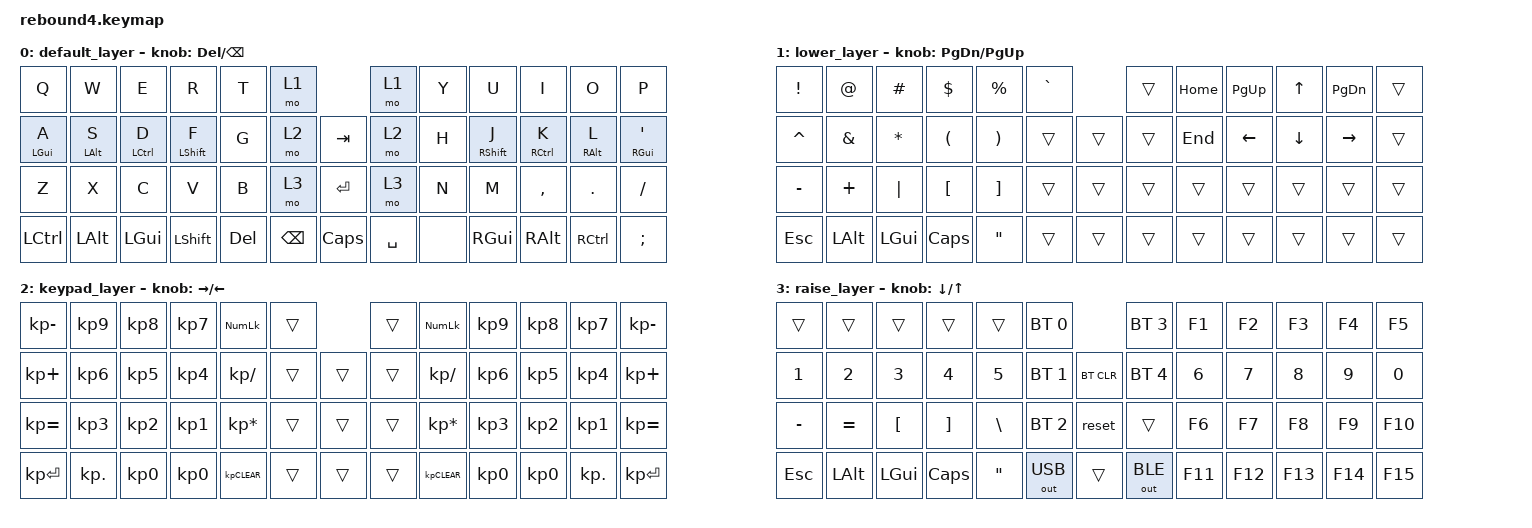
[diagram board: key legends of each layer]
/*
 * Copyright (c) 2020 The ZMK Contributors
 *
 * SPDX-License-Identifier: MIT
 */

#include <behaviors.dtsi>
#include <dt-bindings/zmk/keys.h>
#include <dt-bindings/zmk/bt.h>
#include <dt-bindings/zmk/modifiers.h>
#include <dt-bindings/zmk/outputs.h>

/ {
    behaviors {
        hm: homerow_mods {
            compatible = "zmk,behavior-hold-tap";
            label = "HOMEROW_MODS";
            #binding-cells = <2>;
            tapping_term_ms = <175>;
            flavor = "tap-preferred";
            bindings = <&kp>, <&kp>;
        };
    };

    keymap {
        compatible = "zmk,keymap";


        default_layer {
// -------------------------------------------------------------------------------------
// |   Q   |   W   |   E   |    R   |  T  |  1   |                |  1  |    Y   |    U   |   I   |   O   |   P   |
// | GUI/A | ALT/S | CTL/D | SHFT/F |  G  |  2   |    | TAB  |    |  2  |    H   | SHFT/J | CTL/K | ALT/L | GUI/' |
// |   Z   |   X   |   C   |    V   |  B  |  3   |    | RET  |    |  3  |    N   |    M   |   ,   |   .   |   /   |
// | CTRL  |  ALT  |  GUI  |  SHFT  | DEL | BSPC |    | CAPS |    | SPC |optional|   GUI  |  ALT  |  CTRL |   ;   |
//                         					  
		bindings = <
   &kp Q       &kp W      &kp E       &kp R       &kp T   &mo 1               &mo 1     &kp Y     &kp U       &kp I       &kp O      &kp P
   &hm LGUI A  &hm LALT S &hm LCTRL D &hm LSHFT F &kp G   &mo 2     &kp TAB   &mo 2     &kp H     &hm RSHFT J &hm RCTRL K &hm RALT L &hm RGUI SQT
   &kp Z       &kp X      &kp C       &kp V       &kp B   &mo 3     &kp RET   &mo 3     &kp N     &kp M       &kp COMMA   &kp DOT    &kp FSLH  
   &kp LCTRL   &kp LALT   &kp LGUI    &kp LSHFT   &kp DEL &kp BSPC  &kp CAPS  &kp SPACE &none     &kp RGUI    &kp RALT    &kp RCTRL  &kp SEMI                   
                        >;

			sensor-bindings = <&inc_dec_kp DEL BSPC>;
                };

        lower_layer {
// ----------------------------------------------------------------------------------
// |  !   |  @  |  #  |  $  |  %  |  `  |                   |     | HOME | PGUP |  UP  | PGDN |      |
// |  ^   |  &  |  *  |  (  |  )  |  ~  |     |       |     |     | END  | LEFT | DOWN | RGHT |      |
// |  _   |  +  |  {  |  }  | "|" |     |     |       |     |     |      |      |      |      |      |
// | ESC  | ALT | GUI | CAPS|  "  |     |     |       |     |     |      |      |      |      |      | 
//
		bindings = < 
   &kp EXCL  &kp AT   &kp HASH &kp DLLR &kp PRCNT &kp GRAVE                 &trans &kp HOME &kp PG_UP &kp UP   &kp PG_DN &trans   
   &kp CARET &kp AMPS &kp STAR &kp LPAR &kp RPAR  &trans        &trans      &trans &kp END  &kp LEFT  &kp DOWN &kp RIGHT &trans 
   &kp MINUS &kp PLUS &kp PIPE &kp LBKT &kp RBKT  &trans        &trans      &trans &trans   &trans    &trans   &trans    &trans
   &kp ESC   &kp LALT &kp LGUI &kp CAPS &kp DQT   &trans        &trans      &trans &trans   &trans    &trans   &trans    &trans
                        >;

			sensor-bindings = <&inc_dec_kp PG_DN PG_UP>;
                };

        keypad_layer {
// -----------------------------------------------------------------------------------------
// |  -  |  9  |  8  |  7  | NUM |     |                   |     | NUM |  7  |  8  |  9  |  -  |
// |  +  |  6  |  5  |  4  |  /  |     |     |       |     |     |  /  |  4  |  5  |  6  |  +  |
// |  =  |  3  |  2  |  1  |  *  |     |     |       |     |     |  *  |  1  |  2  |  3  |  =  |
// | RET |  .  |  0  |  0  | CLR |     |     |       |     |     | CLR |  0  |  0  |  .  | RET | 
//                                            
		bindings = <
   &kp KP_MINUS &kp KP_N9  &kp KP_N8 &kp KP_N7 &kp KP_NUM      &trans              &trans &kp KP_NUM      &kp KP_N9 &kp KP_N8 &kp KP_N7  &kp KP_MINUS
   &kp KP_PLUS  &kp KP_N6  &kp KP_N5 &kp KP_N4 &kp KP_SLASH    &trans    &trans    &trans &kp KP_SLASH    &kp KP_N6 &kp KP_N5 &kp KP_N4  &kp KP_PLUS
   &kp KP_EQUAL &kp KP_N3  &kp KP_N2 &kp KP_N1 &kp KP_MULTIPLY &trans    &trans    &trans &kp KP_MULTIPLY &kp KP_N3 &kp KP_N2 &kp KP_N1  &kp KP_EQUAL
   &kp KP_ENTER &kp KP_DOT &kp KP_N0 &kp KP_N0 &kp KP_CLEAR    &trans    &trans    &trans &kp KP_CLEAR    &kp KP_N0 &kp KP_N0 &kp KP_DOT &kp KP_ENTER
                        >;

			sensor-bindings = <&inc_dec_kp RIGHT LEFT>;
                };

	raise_layer {
// -----------------------------------------------------------------------------------------
// |     |     |     |     |     |  BT1  |                  |  BT4  | F1  | F2  | F3  | F4  | F5  |
// |  1  |  2  |  3  |  4  |  5  |  BT2  |    | BT CLR |    |  BT5  |  6  |  7  |  8  |  9  |  0  |
// |  -  |  =  |  [  |  ]  |  \  |  BT3  |    | RESET  |    |       | F6  | F7  | F8  | F9  | F10 | 
// | ESC | ALT | CMD | CAPS|  "  |  USB  |    |        |    |  BLE  |     |     |     | F11 | F12 | 
//           
		bindings = <
   &trans    &trans    &trans   &trans   &trans   &bt BT_SEL 0                 &bt BT_SEL 3 &kp F1  &kp F2  &kp F3  &kp F4  &kp F5     
   &kp N1    &kp N2    &kp N3   &kp N4   &kp N5   &bt BT_SEL 1    &bt BT_CLR   &bt BT_SEL 4 &kp N6  &kp N7  &kp N8  &kp N9  &kp N0   
   &kp MINUS &kp EQUAL &kp LBKT &kp RBKT &kp BSLH &bt BT_SEL 2    &reset       &trans       &kp F6  &kp F7  &kp F8  &kp F9  &kp F10 
   &kp ESC   &kp LALT  &kp LGUI &kp CAPS &kp DQT  &out OUT_USB    &trans       &out OUT_BLE &kp F11 &kp F12 &kp F13 &kp F14 &kp F15       
                        >;

			sensor-bindings = <&inc_dec_kp DOWN UP>;
		};
	};
};

